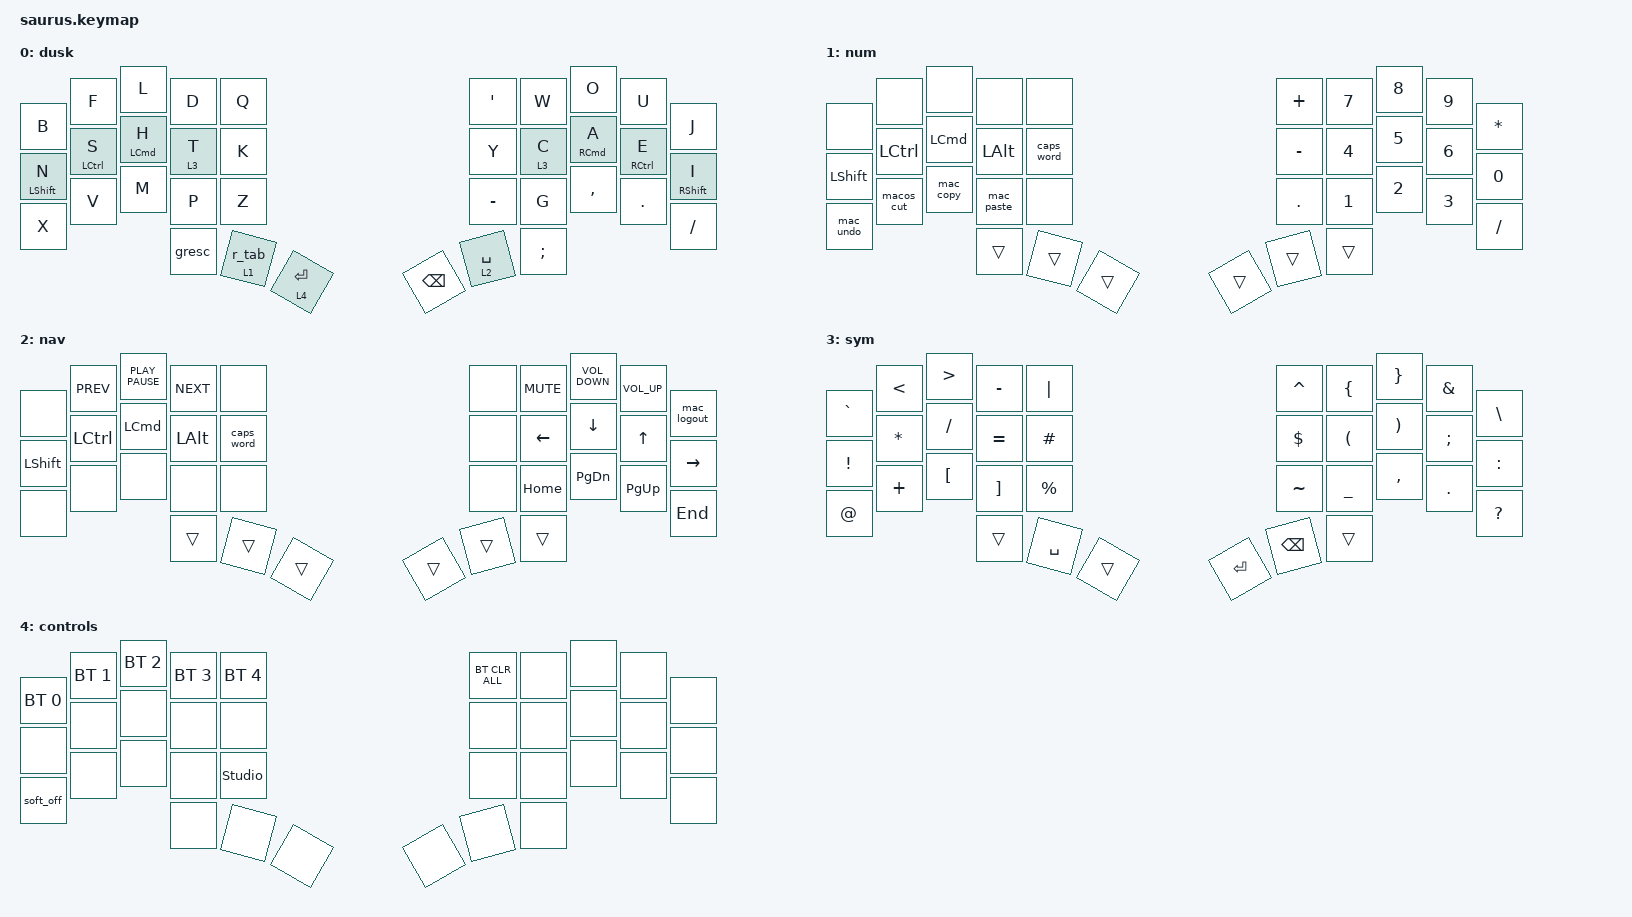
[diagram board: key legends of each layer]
#include <behaviors.dtsi>
#include <dt-bindings/zmk/bt.h>
#include <dt-bindings/zmk/keys.h>
#include <dt-bindings/zmk/outputs.h>

&mt {
    flavor = "balanced";
    quick-tap-ms = <150>;
};

&lt {
    flavor = "balanced";
    quick-tap-ms = <200>;
};

&gresc {
    mods = <(MOD_RGUI|MOD_LGUI)>;
    keep-mods = <(MOD_LGUI)>;
};

/ {
    combos { compatible = "zmk,combos"; };

    macros {
        mac_logout: mac_logout {
            compatible = "zmk,behavior-macro";
            #binding-cells = <0>;
            bindings = <&kp LG(LC(Q))>;
            label = "MAC_LOGOUT";
        };

        mac_copy: mac_copy {
            compatible = "zmk,behavior-macro";
            #binding-cells = <0>;
            bindings = <&kp LG(C)>;
            label = "MAC_COPY";
        };

        mac_paste: mac_paste {
            compatible = "zmk,behavior-macro";
            #binding-cells = <0>;
            bindings = <&kp LG(V)>;
            label = "MAC_PASTE";
        };

        macos_cut: macos_cut {
            compatible = "zmk,behavior-macro";
            #binding-cells = <0>;
            bindings = <&kp LG(X)>;
            label = "MACOS_CUT";
        };

        mac_undo: mac_undo {
            compatible = "zmk,behavior-macro";
            #binding-cells = <0>;
            bindings = <&kp LG(Z)>;
            label = "MAC_UNDO";
        };
    };

    behaviors {
        hml: hml {
            compatible = "zmk,behavior-hold-tap";
            label = "HML";
            bindings = <&kp>, <&kp>;

            #binding-cells = <2>;
            tapping-term-ms = <280>;
            quick-tap-ms = <175>;
            flavor = "balanced";
            hold-trigger-on-release;
            hold-trigger-key-positions = <33 34 35 29 19 5 7 6 8 9 28 18 27 17 26 16 15 25 31 30 32>;
            require-prior-idle-ms = <100>;
            hold-while-undecided;
        };

        hmr: hmr {
            compatible = "zmk,behavior-hold-tap";
            label = "HMR";
            bindings = <&kp>, <&kp>;

            #binding-cells = <2>;
            tapping-term-ms = <280>;
            quick-tap-ms = <175>;
            flavor = "balanced";
            hold-trigger-key-positions = <32 31 30 24 23 22 21 20 14 4 3 13 12 2 1 11 0 10 34 33>;
            hold-trigger-on-release;
            require-prior-idle-ms = <100>;
        };

        ltl: ltl {
            compatible = "zmk,behavior-hold-tap";
            label = "LTL";
            bindings = <&mo>, <&kp>;

            #binding-cells = <2>;
            tapping-term-ms = <280>;
            quick-tap-ms = <175>;
            flavor = "balanced";
            hold-trigger-on-release;
            hold-trigger-key-positions = <5 6 7 8 9 15 16 17 18 19 25 26 27 28 29 34 35 33>;
            require-prior-idle-ms = <100>;
        };

        ltr: ltr {
            compatible = "zmk,behavior-hold-tap";
            label = "LTR";
            bindings = <&mo>, <&kp>;

            #binding-cells = <2>;
            tapping-term-ms = <280>;
            quick-tap-ms = <175>;
            flavor = "balanced";
            hold-trigger-key-positions = <0 10 11 12 13 14 20 21 22 23 24 30 31 32 1 2 3 4 12>;
            hold-trigger-on-release;
            require-prior-idle-ms = <100>;
        };

        r_tab: r_tab {
            compatible = "zmk,behavior-mod-morph";
            label = "R_TAB";
            bindings = <&kp R>, <&kp TAB>;

            #binding-cells = <0>;
            mods = <(MOD_LGUI|MOD_LCTL)>;
            keep-mods = <(MOD_LGUI)>;
        };

        lt_r_tab: lt_r_tab {
            compatible = "zmk,behavior-hold-tap";
            label = "LT_R_TAB";
            bindings = <&mo>, <&r_tab>;

            #binding-cells = <2>;
            tapping-term-ms = <200>;
            quick-tap-ms = <200>;
            flavor = "balanced";
        };
    };

    keymap {
        compatible = "zmk,keymap";

        dusk {
            bindings = <
  &kp B              &kp F                &kp L                &kp D          &kp Q          &kp SQT        &kp W        &kp O                 &kp U                 &kp J
  &hml LEFT_SHIFT N  &hml LEFT_CONTROL S  &hml LEFT_COMMAND H  &ltl 3 T       &kp K          &kp Y          &ltr 3 C     &hmr RIGHT_COMMAND A  &hmr RIGHT_CONTROL E  &hmr RIGHT_SHIFT I
  &kp X              &kp V                &kp M                &kp P          &kp Z          &kp MINUS      &kp G        &kp COMMA             &kp PERIOD            &kp SLASH
                                          &gresc               &lt_r_tab 1 0  &lt 4 ENTER    &kp BACKSPACE  &lt 2 SPACE  &kp SEMICOLON
            >;
        };

        num {
            bindings = <
  &none           &none             &none      &none         &none         &kp PLUS    &kp NUMBER_7  &kp NUMBER_8  &kp NUMBER_9  &kp ASTERISK
  &kp LEFT_SHIFT  &kp LEFT_CONTROL  &kp LCMD   &kp LEFT_ALT  &caps_word    &kp MINUS   &kp NUMBER_4  &kp NUMBER_5  &kp NUMBER_6  &kp NUMBER_0
  &mac_undo       &macos_cut        &mac_copy  &mac_paste    &none         &kp PERIOD  &kp NUMBER_1  &kp NUMBER_2  &kp NUMBER_3  &kp SLASH
                                    &trans     &trans        &trans        &trans      &trans        &trans
            >;
        };

        nav {
            bindings = <
  &none           &kp K_PREV        &kp K_PLAY_PAUSE  &kp K_NEXT  &none         &none   &kp K_MUTE  &kp C_VOLUME_DOWN  &kp C_VOL_UP  &mac_logout
  &kp LEFT_SHIFT  &kp LEFT_CONTROL  &kp LCMD          &kp LALT    &caps_word    &none   &kp LEFT    &kp DOWN_ARROW     &kp UP_ARROW  &kp RIGHT
  &none           &none             &none             &none       &none         &none   &kp HOME    &kp PAGE_DOWN      &kp PG_UP     &kp END
                                    &trans            &trans      &trans        &trans  &trans      &trans
            >;
        };

        sym {
            bindings = <
  &kp GRAVE        &kp LESS_THAN  &kp GREATER_THAN  &kp MINUS          &kp PIPE       &kp CARET   &kp LEFT_BRACE        &kp RIGHT_BRACE        &kp AMPERSAND  &kp BACKSLASH
  &kp EXCLAMATION  &kp ASTERISK   &kp SLASH         &kp EQUAL          &kp HASH       &kp DOLLAR  &kp LEFT_PARENTHESIS  &kp RIGHT_PARENTHESIS  &kp SEMICOLON  &kp COLON
  &kp AT_SIGN      &kp PLUS       &kp LEFT_BRACKET  &kp RIGHT_BRACKET  &kp PERCENT    &kp TILDE   &kp UNDERSCORE        &kp COMMA              &kp PERIOD     &kp QUESTION
                                  &trans            &kp SPACE          &trans         &kp ENTER   &kp BACKSPACE         &trans
            >;
        };

        controls {
            bindings = <
  &bt BT_SEL 0  &bt BT_SEL 1    &bt BT_SEL 2    &bt BT_SEL 3    &bt BT_SEL 4      &bt BT_CLR_ALL  &none  &none  &none  &none
  &none  &none    &none    &none    &none     &none  &none  &none  &none  &none
  &soft_off     &none  &none          &none           &studio_unlock    &none  &none  &none  &none  &none
                                &none          &none          &none            &none  &none  &none
            >;
        };
    };
};
